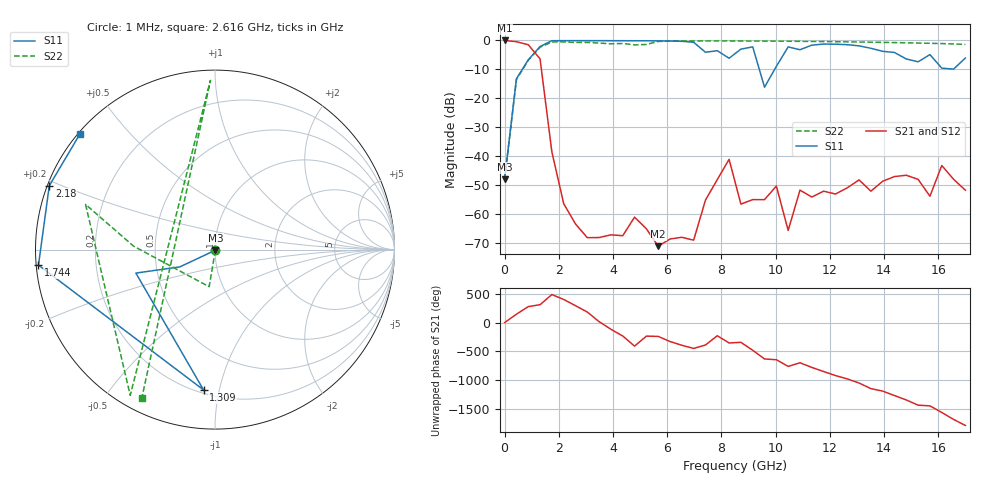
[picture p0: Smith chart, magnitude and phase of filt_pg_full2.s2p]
# GHz S RI R 50
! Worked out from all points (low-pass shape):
!   40 points, 1 MHz to 17 GHz, reference 50 ohm
!   highest |S21| = -0.02 dB at 1 MHz (marker M1); lowest = -71.1 dB at 5.667 GHz (marker M2)
!   |S21| within 3 dB of the highest: start of sweep to 1.009 GHz
!   lowest |S11| = -48.0 dB at 1 MHz (marker M3), VSWR 1.01, Z = 50.2 - j0.351 ohm
!   |S11| at or under -10 dB: start of sweep to 654.4 MHz; 9.397 GHz to 9.964 GHz (566.2 MHz wide, 5.85 % of centre)
!   |S22| runs from -48.0 to -0.2 dB; largest |S21 - S12| = 2.3e-13
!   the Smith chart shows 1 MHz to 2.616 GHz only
!   S11 on the Smith chart (normalised r, x): 1 MHz: 1.00, -0.01; 1.309 GHz: 0.22, -0.90; 1.744 GHz: 0.01, -0.04; 2.18 GHz: 0.01, +0.19; 2.616 GHz: 0.01, +0.37
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0.001  0.00193 -0.0035  0.9979 -0.00936  0.9979 -0.00936  0.00193 -0.0035
0.4368718  -0.1954 -0.0961  -0.777 0.5464  -0.777 0.5464  -0.0327 -0.2068
0.8727436  -0.4408 -0.1309  0.097 -0.8366  0.097 -0.8366  -0.4538 0.0194
1.308615  -0.064 -0.7817  0.3078 -0.3686  0.3078 -0.3686  -0.7211 0.2516
1.744487  -0.9835 -0.0864  -0.007 0.00958  -0.007 0.00958  -0.4723 -0.8119
2.180359  -0.9232 0.3562  0.00115 0.000994  0.00115 0.000994  -0.0254 0.9428
2.616231  -0.754 0.6416  0.000264 -0.000623  0.000264 -0.000623  -0.4077 -0.8266
3.052103  -0.5367 0.8316  -0.000391 -2e-05  -0.000391 -2e-05  0.0114 0.924
3.487974  -0.2939 0.9444  0.00038 0.000103  0.00038 0.000103  -0.6021 -0.6696
3.923846  -0.0395 0.9877  -0.000195 -0.000393  -0.000195 -0.000393  0.6288 0.6046
4.359718  0.2141 0.964  -0.000254 0.00034  -0.000254 0.00034  -0.8508 0.2429
4.79559  0.4537 0.8755  0.000585 -0.000666  0.000585 -0.000666  -0.2896 -0.785
5.231462  0.6665 0.7244  -0.000318 0.000458  -0.000318 0.000458  -0.2671 -0.808
5.667333  0.837 0.5123  -0.00014 0.000242  -0.00014 0.000242  -0.9209 0.2724
6.974949  0.7965 -0.4779  7.13e-06 -0.000355  7.13e-06 -0.000355  0.1152 0.9707
8.282564  0.0269 -0.4912  0.00877 0.000973  0.00877 0.000973  0.8274 0.5215
8.718436  0.6353 -0.3104  0.00142 0.000441  0.00142 0.000441  0.9342 0.2854
9.590179  0.1227 0.0956  5.12e-05 0.00178  5.12e-05 0.00178  0.9519 -0.2029
10.46192  0.4852 -0.6013  0.0004 -0.000337  0.0004 -0.000337  0.7451 -0.6181
11.33367  0.0604 -0.8263  0.00104 -0.00167  0.00104 -0.00167  0.3858 -0.8794
14.38477  -0.4754 0.3963  -0.00443 0.000448  -0.00443 0.000448  -0.8417 -0.3626
17  0.4559 0.1963  0.0025 0.000673  0.0025 0.000673  -0.4038 0.7482
